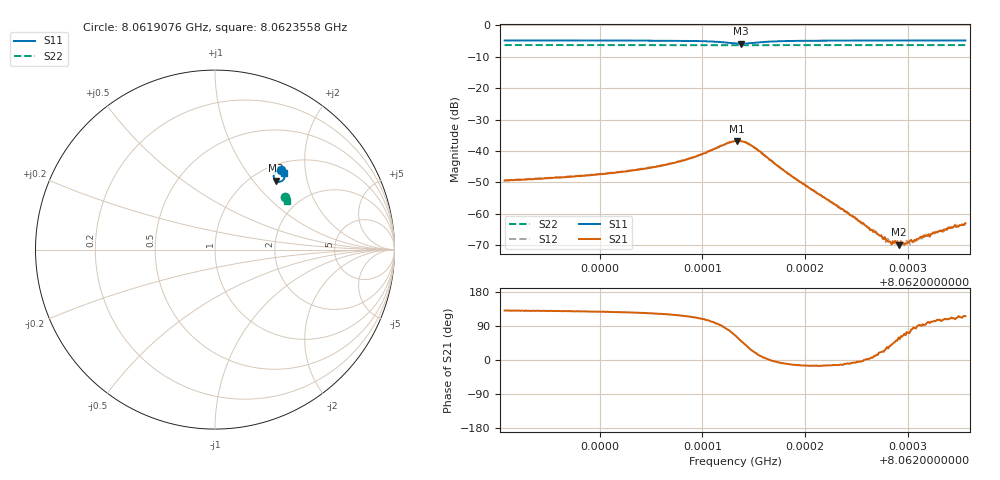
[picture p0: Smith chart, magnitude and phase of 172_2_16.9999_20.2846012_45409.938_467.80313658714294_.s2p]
#  HZ  S  RI  R  50.00
! Rohde & Schwarz Vector Network Analyzer
! Rohde-Schwarz,ZNB20-2Port,1311601062101988,3.16
! Created: UTC 3/20/2024, 10:59:48 PM
! freq[Hz]  re:S11  im:S11  re:S21  im:S21  re:S12  im:S12  re:S22  im:S22
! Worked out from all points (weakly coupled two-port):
!   401 points, 8.0619076 GHz to 8.0623558 GHz, reference 50 ohm
!   highest |S21| = -36.79 dB at 8.062134 GHz (marker M1); lowest = -69.9 dB at 8.0622908 GHz (marker M2)
!   lowest |S11| = -5.8 dB at 8.0621373 GHz (marker M3), VSWR 3.10, Z = 63 + j65.7 ohm
!   |S11| at or under -10 dB: nowhere
!   |S22| runs from -6.3 to -6.3 dB; largest |S21 - S12| = 0.0011
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8.06190764e9  0.3703 0.4408  -0.0022 0.00256  -0.00208 0.00273  0.3876 0.2934
8.06198271e9  0.3764 0.4349  -0.00248 0.00313  -0.00231 0.00332  0.3903 0.2895
8.06202192e9  0.3802 0.4306  -0.00272 0.00377  -0.00257 0.00395  0.3917 0.2876
8.06205778e9  0.3842 0.4242  -0.00301 0.00484  -0.00276 0.00506  0.3928 0.2855
8.06209027e9  0.3879 0.4124  -0.00307 0.00716  -0.00274 0.00741  0.3938 0.2834
8.06211492e9  0.3825 0.3914  -0.00106 0.0113  -0.000298 0.0115  0.3942 0.2815
8.06213172e9  0.3528 0.3785  0.00597 0.0131  0.007 0.0127  0.393 0.2806
8.06213396e9  0.3469 0.3799  0.00736 0.0125  0.00805 0.012  0.3929 0.2808
8.06213733e9  0.3384 0.3845  0.00904 0.0111  0.00981 0.0106  0.3926 0.281
8.06214293e9  0.3291 0.3969  0.0108 0.00823  0.0112 0.00751  0.3926 0.2814
8.06214965e9  0.3271 0.4134  0.0107 0.00435  0.0111 0.00378  0.393 0.2818
8.06218102e9  0.3531 0.4392  0.00458 -0.000757  0.00454 -0.00106  0.3956 0.281
8.06220679e9  0.3647 0.4387  0.00229 -0.00062  0.00228 -0.000768  0.3969 0.2795
8.06224601e9  0.3735 0.4356  0.000895 -0.000125  0.000897 -0.000166  0.3983 0.2775
8.06227738e9  0.378 0.4331  0.00038 0.000187  0.000367 0.000163  0.3994 0.2758
8.06228186e9  0.3784 0.4328  0.000292 0.000214  0.00031 0.000206  0.3996 0.2757
8.06229082e9  0.3794 0.4321  0.000163 0.000275  0.000189 0.000237  0.4001 0.2751
8.06229419e9  0.3799 0.4319  0.000164 0.000306  0.000169 0.000278  0.4001 0.275
8.06229867e9  0.3802 0.4316  9.43e-05 0.000321  0.000156 0.000336  0.4004 0.2747
8.06230427e9  0.3809 0.4313  5.29e-05 0.000353  5.77e-05 0.000344  0.4006 0.2745
8.06231996e9  0.3824 0.4302  -8.61e-05 0.000459  -2.91e-05 0.000448  0.401 0.2736
8.06235581e9  0.3854 0.428  -0.000305 0.000632  -0.000263 0.000653  0.4021 0.272
